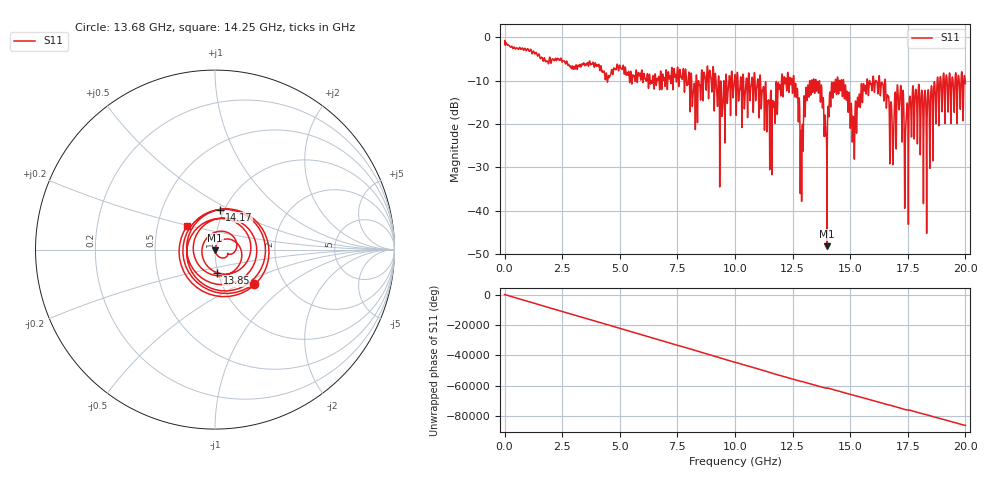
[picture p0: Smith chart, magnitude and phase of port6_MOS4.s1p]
! MS46122B
! 2250307/22442219
! 6/14/2025 10:27:47 AM
! C:\USERS\SPARKY\DOCUMENTS\VNA_DATA\JUNE14_2025\295K\PORT6_MOS4.S1P
! CHANNEL.1
! TR.MEASUREMENT
! RAW.DATA
# GHZ S RI R 50.0
! FREQ.GHZ  S11RE  S11IM
!; PortSelection: Port_1
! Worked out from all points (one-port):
!   10001 points, 1 MHz to 20 GHz, reference 50 ohm
!   lowest |S11| = -48.2 dB at 13.99 GHz (marker M1), VSWR 1.01, Z = 50.1 - j0.362 ohm
!   |S11| at or under -10 dB: 11.11 GHz to 12.01 GHz (906.7 MHz wide, 7.84 % of centre); 14.71 GHz to 15.73 GHz (1.015 GHz wide, 6.67 % of centre); 16.52 GHz to 18.77 GHz (2.25 GHz wide, 12.7 % of centre) (the widest 3 of 77)
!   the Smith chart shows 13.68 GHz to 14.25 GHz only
!   S11 on the Smith chart (normalised r, x): 13.68 GHz: 1.41, -0.59; 13.85 GHz: 0.99, -0.26; 14.17 GHz: 0.95, +0.45; 14.25 GHz: 0.71, +0.20
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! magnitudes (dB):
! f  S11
! 1 MHz  -1.0
! 2.501 GHz  -5.7
! 5.001 GHz  -6.4
! 7.501 GHz  -7.0
! 8.213 GHz  -11.8
! 8.979 GHz  -10.9
! 9.409 GHz  -13.2
! 10 GHz  -8.6
! 10.92 GHz  -12.8
! 11.58 GHz  -17.0
! 11.96 GHz  -11.3
! 12.5 GHz  -12.9
! 12.89 GHz  -33.9
! 13.16 GHz  -11.0
! 13.68 GHz  -10.8
! 13.85 GHz  -17.8
! 13.99 GHz  -48.2
! 14.17 GHz  -13.0
! 14.25 GHz  -13.8
! 15 GHz  -20.7
! 15.18 GHz  -27.7
! 16.18 GHz  -11.6
! 16.59 GHz  -14.9
! 16.8 GHz  -16.7
! 17.12 GHz  -16.6
! 17.44 GHz  -18.2
! 17.5 GHz  -17.6
! 20 GHz  -10.7
